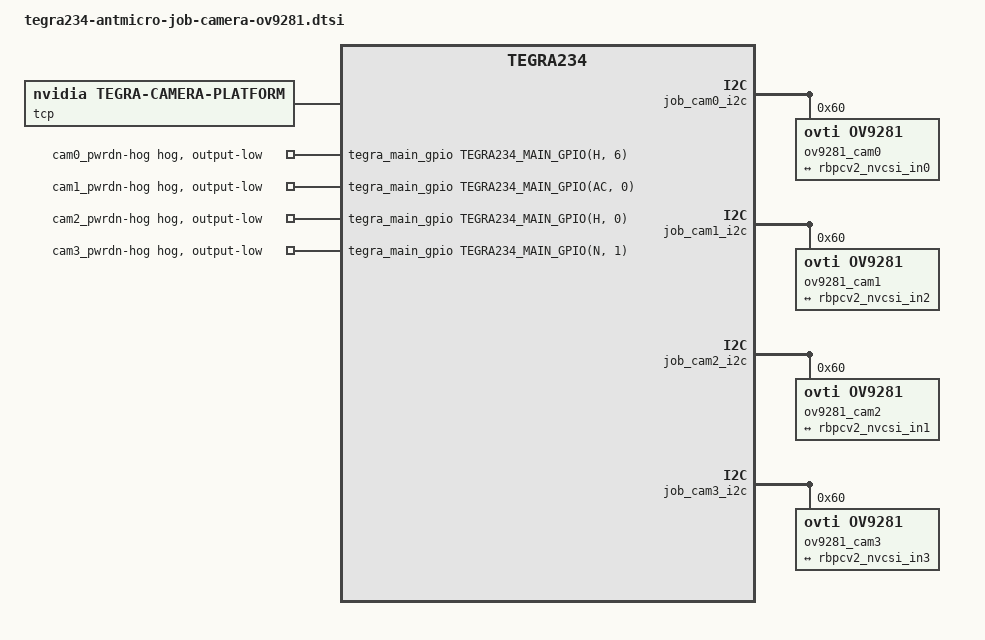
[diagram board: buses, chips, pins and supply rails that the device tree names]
/*
 * Copyright (c) 2022, NVIDIA CORPORATION.  All rights reserved.
 * Copyright (c) 2023 Antmicro <www.antmicro.com>
 *
 * This program is free software; you can redistribute it and/or modify
 * it under the terms of the GNU General Public License as published by
 * the Free Software Foundation; either version 2 of the License, or
 * (at your option) any later version.
 *
 * This program is distributed in the hope that it will be useful, but WITHOUT
 * ANY WARRANTY; without even the implied warranty of MERCHANTABILITY or
 * FITNESS FOR A PARTICULAR PURPOSE.  See the GNU General Public License for
 * more details.
 *
 * You should have received a copy of the GNU General Public License
 * along with this program.  If not, see <http://www.gnu.org/licenses/>.
 */
 #include <dt-bindings/media/camera.h>

/*
 * This DTSI file implements support for Antmicro ov9281 Dual Camera Board
 * connected to Antmicro Jetson Orin Baseboard (JOB). There are two cameras
 * on each board, labeled on schematic M1 and M2.
 * JOB supports two camera boards connected simulatenously to CSI A (J7) and
 * CSI B (J8) connectors, so 4x ov9281 cameras max.
 * For simplicity, we've assigned indices to those cameras as follows:
 * - 0: connector A - camera M2
 * - 1: connector A - camera M1
 * - 2: connector B - camera M2
 * - 3: connector B - camera M1
 * These indices are also observed in /dev/video* device numbering.
 *
 * NOTE:
 * Connecting ov9281 board to CSI B connector on JOB requires resistor
 * jumpers to be placed correctly on JOB. See below.
 *
 * ====== Power management ======
 * CSI A and CSA B connectors feature GPIO-controlled 5V and 3V3 power
 * supplies. ov9281 uses only 3V3 rails, controlled by following regulators:
 * - job_reg_csia_3v3 for CSI A
 * - job_reg_csib_3v3 for CSI B
 *
 * Each regulator powers up both cameras on the daughterboard as well as XTAL
 * oscillators which clock them.
 *
 * Reset pins of ov9281 are not routed on JOB and are pulled high, so GPIO
 * reset functionality is not available.
 * Power-down pins of ov9281 are routed on JOB to the following nets:
 * - Camera 0: VSYNC_CAM0_3V3 / VSYNC_CAM0 - SoM pin 114 - GPIO H.6
 * - Camera 1: VSYNC_CAM1_3V3 / VSYNC_CAM1 - SoM pin 120 - GPIO AC.0
 * - Camera 2: VSYNC_CAM3_3V3 / VSYNC_CAM3 - SoM pin 228 - GPIO H.0
 *                 (needs R5 placed, R3 removed)
 * - Camera 3: VSYNC_CAM2_3V3 / VSYNC_CAM2 - SoM pin 218 - GPIO N.1
 *                 (needs R4 placed, R2 removed)
 *
 * ====== I2C routing ======
 * - Camera 0: SCL/SDA_CAM0 (job_cam0_i2c)
 * - Camera 1: SCL/SDA_CAM1 (job_cam1_i2c)
 * - Camera 2: SCL/SDA_CAM2 (job_cam2_i2c)
 * - Camera 3: SCL/SDA_CAM3 (job_cam3_i2c)
 *
 * ====== CSI lane mapping ======
 * - Camera 0: CSI0 = CSI_A [CLK, D0, D1]
 * - Camera 1: CSI2 = CSI_C [CLK, D0, D1]
 * - Camera 2: CSI1 = CSI_B [CLK, D0, D1]
 *        (needs R107 placed, R103 removed - is a default configuration)
 * - Camera 3: CSI3 = CSI_D [CLK, D0, D1]
 *        (needs R122 placed, R108 removed)
 *
 * ====== CSI lane polarity ======
 *
 * See Jetson Orin NX Design Guide DG-10931-001 fig.10-1.:
 * - CSI0_D1 is inverted on SoM
 * - CSI1_D0 is inverted on SoM
 */


 // Camera nodes
 &job_cam0_i2c {
 	ov9281_cam0: camera@60 {
 		compatible = "ovti,ov9281";
		reg = <0x60>;
		nvidia,no-sensor-bus-introspection;
		avdd-reg = "job_reg_csia_3v3";

		vertical-flip = "true";

		mode0 { /* OV9281_MODE_1280x800_60FPS */
			mclk_khz = "24000";
			num_lanes = "2";
			tegra_sinterface = "serial_a";
			phy_mode = "DPHY";
			discontinuous_clk = "no";
			dpcm_enable = "false";
			cil_settletime = "0";
			lane_polarity = "6";

			active_w = "1280";
			active_h = "800";
			pixel_t = "bayer_rggb";
			readout_orientation = "90";
			line_length = "1280";
			inherent_gain = "1";
			mclk_multiplier = "9.33";
			pix_clk_hz = "224000000";

			gain_factor = "16";
			csi_pixel_bit_depth = "8";
			framerate_factor = "1000000";
			exposure_factor = "1000000";
			min_gain_val = "16"; /* 1.00x */
			max_gain_val = "170"; /* 10.66x */
			step_gain_val = "1";
			default_gain = "16"; /* 1.00x */
			min_hdr_ratio = "1";
			max_hdr_ratio = "1";
			min_framerate = "2000000"; /* 2.0 fps */
			max_framerate = "21000000"; /* 21.0 fps */
			step_framerate = "1";
			default_framerate = "21000000"; /* 21.0 fps */
			min_exp_time = "13"; /* us */
			max_exp_time = "683709"; /* us */
			step_exp_time = "1";
			default_exp_time = "2495"; /* us */

			embedded_metadata_height = "0";
		};


		ports {
			#address-cells = <1>;
			#size-cells = <0>;

			port@0 {
				reg = <0>;
				ov9281_cam0_out: endpoint {
					status = "okay";
					port-index = <0>;
					bus-width = <2>;
					remote-endpoint = <&rbpcv2_nvcsi_in0>;
				};
			};
		};
	};
};

&job_cam1_i2c {
	ov9281_cam1: camera@60 {
		compatible = "ovti,ov9281";
		reg = <0x60>;
		nvidia,no-sensor-bus-introspection;
		avdd-reg = "job_reg_csia_3v3";

		vertical-flip = "true";

		mode0 { /* OV9281_MODE_1280x800_60FPS */
			mclk_khz = "24000";
			num_lanes = "2";
			tegra_sinterface = "serial_c";
			phy_mode = "DPHY";
			discontinuous_clk = "no";
			dpcm_enable = "false";
			cil_settletime = "0";

			active_w = "1280";
			active_h = "800";
			pixel_t = "bayer_rggb";
			readout_orientation = "90";
			line_length = "1280";
			inherent_gain = "1";
			mclk_multiplier = "9.33";
			pix_clk_hz = "224000000";

			gain_factor = "16";
			csi_pixel_bit_depth = "8";
			framerate_factor = "1000000";
			exposure_factor = "1000000";
			min_gain_val = "16"; /* 1.00x */
			max_gain_val = "170"; /* 10.66x */
			step_gain_val = "1";
			default_gain = "16"; /* 1.00x */
			min_hdr_ratio = "1";
			max_hdr_ratio = "1";
			min_framerate = "2000000"; /* 2.0 fps */
			max_framerate = "21000000"; /* 21.0 fps */
			step_framerate = "1";
			default_framerate = "21000000"; /* 21.0 fps */
			min_exp_time = "13"; /* us */
			max_exp_time = "683709"; /* us */
			step_exp_time = "1";
			default_exp_time = "2495"; /* us */

			embedded_metadata_height = "0";
		};


		ports {
			#address-cells = <1>;
			#size-cells = <0>;

			port@0 {
				reg = <0>;
				ov9281_cam1_out: endpoint {
					status = "okay";
					port-index = <2>;
					bus-width = <2>;
					remote-endpoint = <&rbpcv2_nvcsi_in2>;
				};
			};
		};
	};
};

&job_cam2_i2c {
	ov9281_cam2: camera@60 {
		compatible = "ovti,ov9281";
		reg = <0x60>;
		nvidia,no-sensor-bus-introspection;
		avdd-reg = "job_reg_csib_3v3";

		vertical-flip = "true";

		mode0 { /* OV9281_MODE_1280x800_60FPS */
			mclk_khz = "24000";
			num_lanes = "2";
			tegra_sinterface = "serial_b";
			phy_mode = "DPHY";
			discontinuous_clk = "no";
			dpcm_enable = "false";
			cil_settletime = "0";
			lane_polarity = "6";

			active_w = "1280";
			active_h = "800";
			pixel_t = "bayer_rggb";
			readout_orientation = "90";
			line_length = "1280";
			inherent_gain = "1";
			mclk_multiplier = "9.33";
			pix_clk_hz = "224000000";

			gain_factor = "16";
			csi_pixel_bit_depth = "8";
			framerate_factor = "1000000";
			exposure_factor = "1000000";
			min_gain_val = "16"; /* 1.00x */
			max_gain_val = "170"; /* 10.66x */
			step_gain_val = "1";
			default_gain = "16"; /* 1.00x */
			min_hdr_ratio = "1";
			max_hdr_ratio = "1";
			min_framerate = "2000000"; /* 2.0 fps */
			max_framerate = "21000000"; /* 21.0 fps */
			step_framerate = "1";
			default_framerate = "21000000"; /* 21.0 fps */
			min_exp_time = "13"; /* us */
			max_exp_time = "683709"; /* us */
			step_exp_time = "1";
			default_exp_time = "2495"; /* us */

			embedded_metadata_height = "0";
		};


		ports {
			#address-cells = <1>;
			#size-cells = <0>;

			port@0 {
				reg = <0>;
				ov9281_cam2_out: endpoint {
					status = "okay";
					port-index = <1>;
					bus-width = <2>;
					remote-endpoint = <&rbpcv2_nvcsi_in1>;
				};
			};
		};
	};
};

&job_cam3_i2c {
	ov9281_cam3: camera@60 {
		compatible = "ovti,ov9281";
		reg = <0x60>;
		nvidia,no-sensor-bus-introspection;
		avdd-reg = "job_reg_csib_3v3";

		vertical-flip = "true";

		mode0 { /* OV9281_MODE_1280x800_60FPS */
			mclk_khz = "24000";
			num_lanes = "2";
			tegra_sinterface = "serial_d";
			phy_mode = "DPHY";
			discontinuous_clk = "no";
			dpcm_enable = "false";
			cil_settletime = "0";

			active_w = "1280";
			active_h = "800";
			pixel_t = "bayer_rggb";
			readout_orientation = "90";
			line_length = "1280";
			inherent_gain = "1";
			mclk_multiplier = "9.33";
			pix_clk_hz = "224000000";

			gain_factor = "16";
			csi_pixel_bit_depth = "8";
			framerate_factor = "1000000";
			exposure_factor = "1000000";
			min_gain_val = "16"; /* 1.00x */
			max_gain_val = "170"; /* 10.66x */
			step_gain_val = "1";
			default_gain = "16"; /* 1.00x */
			min_hdr_ratio = "1";
			max_hdr_ratio = "1";
			min_framerate = "2000000"; /* 2.0 fps */
			max_framerate = "21000000"; /* 21.0 fps */
			step_framerate = "1";
			default_framerate = "21000000"; /* 21.0 fps */
			min_exp_time = "13"; /* us */
			max_exp_time = "683709"; /* us */
			step_exp_time = "1";
			default_exp_time = "2495"; /* us */

			embedded_metadata_height = "0";
		};


		ports {
			#address-cells = <1>;
			#size-cells = <0>;

			port@0 {
				reg = <0>;
				ov9281_cam3_out: endpoint {
					status = "okay";
					port-index = <3>;
					bus-width = <2>;
					remote-endpoint = <&rbpcv2_nvcsi_in3>;
				};
			};
		};
	};
};

&tegra_main_gpio {
	/* hog camera PWRDN GPIOs: drive all of them low so that cameras are always enabled */
	cam0_pwrdn-hog {
		gpio-hog;
		gpios = <TEGRA234_MAIN_GPIO(H, 6) GPIO_ACTIVE_HIGH>;
		output-low;
	};

	cam1_pwrdn-hog {
		gpio-hog;
		gpios = <TEGRA234_MAIN_GPIO(AC, 0) GPIO_ACTIVE_HIGH>;
		output-low;
	};

	cam2_pwrdn-hog {
		gpio-hog;
		gpios = <TEGRA234_MAIN_GPIO(H, 0) GPIO_ACTIVE_HIGH>;
		output-low;
	};

	cam3_pwrdn-hog {
		gpio-hog;
		gpios = <TEGRA234_MAIN_GPIO(N, 1) GPIO_ACTIVE_HIGH>;
		output-low;
	};
};

/ {
	host1x@13e00000 {
		nvcsi@15a00000 {
			num-channels = <4>;
			#address-cells = <1>;
			#size-cells = <0>;
			channel@0 {
				reg = <0>;
				ports {
					#address-cells = <1>;
					#size-cells = <0>;
					port@0 {
						reg = <0>;
						rbpcv2_nvcsi_in0: endpoint@0 {
							port-index = <0>;
							bus-width = <2>;
							remote-endpoint = <&ov9281_cam0_out>;
						};
					};
					port@1 {
						reg = <1>;
						rbpcv2_nvcsi_out0: endpoint@1 {
							remote-endpoint = <&rbpcv2_vi_in0>;
						};
					};
				};
			};
			channel@1 {
				reg = <1>;
				ports {
					#address-cells = <1>;
					#size-cells = <0>;
					port@0 {
						reg = <0>;
						rbpcv2_nvcsi_in2: endpoint@0 {
							port-index = <2>;
							bus-width = <2>;
							remote-endpoint = <&ov9281_cam1_out>;
						};
					};
					port@1 {
						reg = <1>;
						rbpcv2_nvcsi_out2: endpoint@1 {
							remote-endpoint = <&rbpcv2_vi_in2>;
						};
					};
				};
			};
			channel@2 {
				reg = <2>;
				ports {
					#address-cells = <1>;
					#size-cells = <0>;
					port@0 {
						reg = <0>;
						rbpcv2_nvcsi_in1: endpoint@0 {
							port-index = <1>;
							bus-width = <2>;
							remote-endpoint = <&ov9281_cam2_out>;
						};
					};
					port@1 {
						reg = <1>;
						rbpcv2_nvcsi_out1: endpoint@1 {
							remote-endpoint = <&rbpcv2_vi_in1>;
						};
					};
				};
			};
			channel@3 {
				reg = <3>;
				ports {
					#address-cells = <1>;
					#size-cells = <0>;
					port@0 {
						reg = <0>;
						rbpcv2_nvcsi_in3: endpoint@0 {
							port-index = <3>;
							bus-width = <2>;
							remote-endpoint = <&ov9281_cam3_out>;
						};
					};
					port@1 {
						reg = <1>;
						rbpcv2_nvcsi_out3: endpoint@1 {
							remote-endpoint = <&rbpcv2_vi_in3>;
						};
					};
				};
			};
		};
	};

	tegra-capture-vi {
		num-channels = <4>;
		ports {
			#address-cells = <1>;
			#size-cells = <0>;
			port@0 {
				reg = <0>;
				rbpcv2_vi_in0: endpoint {
					port-index = <0>;
					bus-width = <2>;
					remote-endpoint = <&rbpcv2_nvcsi_out0>;
				};
			};
			port@1 {
				reg = <1>;
				rbpcv2_vi_in2: endpoint {
					port-index = <2>;
					bus-width = <2>;
					remote-endpoint = <&rbpcv2_nvcsi_out2>;
				};
			};
			port@2 {
				reg = <2>;
				rbpcv2_vi_in1: endpoint {
					port-index = <1>;
					bus-width = <2>;
					remote-endpoint = <&rbpcv2_nvcsi_out1>;
				};
			};
			port@3 {
				reg = <3>;
				rbpcv2_vi_in3: endpoint {
					port-index = <3>;
					bus-width = <2>;
					remote-endpoint = <&rbpcv2_nvcsi_out3>;
				};
			};
		};
	};

	tcp: tegra-camera-platform {
		compatible = "nvidia, tegra-camera-platform";
		status = "okay";
		/**
		* Physical settings to calculate max ISO BW
		*
		* num_csi_lanes = <>;
		* Total number of CSI lanes when all cameras are active
		*
		* max_lane_speed = <>;
		* Max lane speed in Kbit/s
		*
		* min_bits_per_pixel = <>;
		* Min bits per pixel
		*
		* vi_peak_byte_per_pixel = <>;
		* Max byte per pixel for the VI ISO case
		*
		* vi_bw_margin_pct = <>;
		* Vi bandwidth margin in percentage
		*
		* max_pixel_rate = <>;
		* Max pixel rate in Kpixel/s for the ISP ISO case
		*
		* isp_peak_byte_per_pixel = <>;
		* Max byte per pixel for the ISP ISO case
		*
		* isp_bw_margin_pct = <>;
		* Isp bandwidth margin in percentage
		*/
		num_csi_lanes = <8>;
		max_lane_speed = <1500000>;
		min_bits_per_pixel = <10>;
		vi_peak_byte_per_pixel = <2>;
		vi_bw_margin_pct = <25>;
		max_pixel_rate = <240000>;
		isp_peak_byte_per_pixel = <5>;
		isp_bw_margin_pct = <25>;
	};
};
